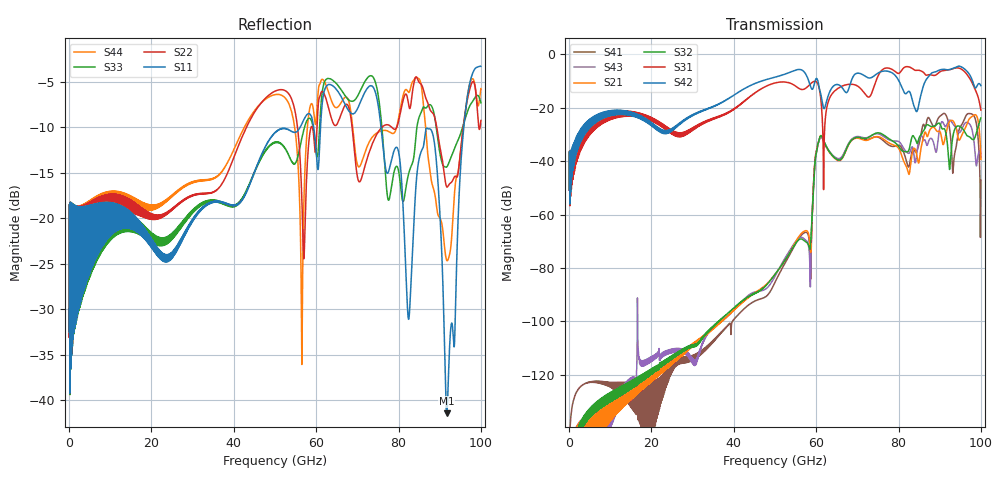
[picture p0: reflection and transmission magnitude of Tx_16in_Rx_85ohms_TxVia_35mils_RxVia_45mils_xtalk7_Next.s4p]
! Info: Touchstone file created by Circ.  Input file=Tx_16in_Rx_85ohms_TxVia_35mils_RxVia_45mils.circ
# Hz S RI R 50
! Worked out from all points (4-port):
!   10000 points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, 10 MHz to 100 GHz, reference 50 ohm
!   strongest paths, dB at 10 MHz, 25.01 GHz, 50.01 GHz, 75.01 GHz, 100 GHz:
!     S42: -50.7, -28.1, -8.5, -7.0, -11.7
!     S31: -50.8, -29.6, -10.7, -8.1, -20.8
!     S32: -180.4, -113.1, -82.3, -29.4, -23.8
!     S21: -175.7, -113.6, -82.3, -30.8, -39.3
!     S43: -175.1, -110.4, -83.1, -29.7, -37.0
!     S41: -162.3, -115.7, -85.3, -31.0, -47.1
!   lowest |S11| = -41.4 dB at 91.7 GHz (marker M1), VSWR 1.02, Z = 50.6 - j0.554 ohm
!   |S11| at or under -10 dB: start of sweep to 56.13 GHz; 59.39 GHz to 61.06 GHz (1.669 GHz wide, 2.77 % of centre); 75.75 GHz to 95.85 GHz (20.1 GHz wide, 23.4 % of centre)
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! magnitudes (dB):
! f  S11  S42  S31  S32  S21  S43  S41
! 10 MHz  -32.5  -50.7  -50.8  -180.4  -175.7  -175.1  -162.3
! 51.49 GHz  -10.2  -7.9  -10.3  -79.2  -79.3  -78.8  -80.8
! 58.39 GHz  -8.5  -10.8  -11.4  -72.7  -69.3  -75.7  -71.2
! 61.1 GHz  -9.7  -14.6  -16.3  -30.4  -30.4  -30.7  -30.7
! 87.99 GHz  -10.4  -7.1  -7.7  -27.0  -27.5  -31.5  -25.6
! 91.7 GHz  -41.4  -5.7  -5.9  -31.3  -28.5  -26.4  -23.3
! 100 GHz  -3.3  -11.7  -20.8  -23.8  -39.3  -37.0  -47.1
